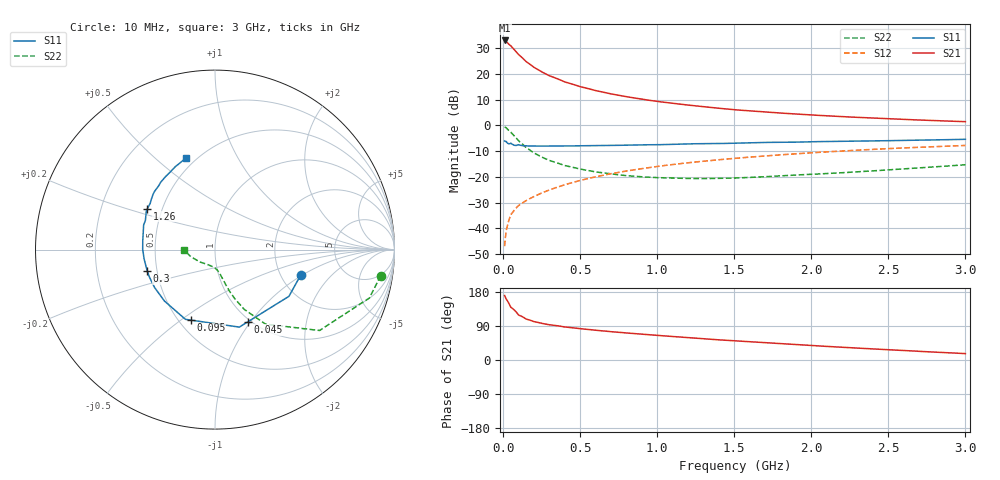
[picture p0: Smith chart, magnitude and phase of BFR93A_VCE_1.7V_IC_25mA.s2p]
! Infineon Technologies  Discrete & RF Semiconductors
! BFR93A
! VCE =  1.7 V,  IC =  25 mA
! Common Emitter S-Parameters:  Nov 2015
# GHz  S  MA  R  50
!  f  S11  S21  S12  S22
! GHz  MAG  ANG  MAG  ANG  MAG  ANG  MAG  ANG
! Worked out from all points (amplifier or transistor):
!   180 points, 10 MHz to 3 GHz, reference 50 ohm
!   highest |S21| = 33.0 dB at 10 MHz (marker M1)
!   |S21| within 3 dB of that: start of sweep to 64.28 MHz
!   unconditionally stable (mu >= 1): 358.2 MHz to end of sweep
!   at 160 MHz: K = 0.78, MSG = 26.6 dB, |S12| = -28.9 dB
!   at 1.22 GHz: K = 1.08, MAG = 9.3 dB, |S12| = -14.4 dB
!   at 3 GHz: K = 1.01, MAG = 4.0 dB, |S12| = -7.8 dB
!   S11 on the Smith chart (normalised r, x): 10 MHz: 2.56, -0.97; 45 MHz: 0.97, -0.97; 95 MHz: 0.57, -0.54; 300 MHz: 0.44, -0.13; 1.26 GHz: 0.41, +0.23; 3 GHz: 0.44, +0.64
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0.01  0.498 -16.6  44.72 170.2  0.0045 82.3  0.9349 -8.9
0.02  0.4873 -32.3  43.04 161.2  0.0088 76.9  0.9015 -17.4
0.045  0.4422 -65.8  36.12 143.5  0.0167 67.4  0.7567 -33.7
0.05  0.4525 -72.6  35.24 139.3  0.0183 66.5  0.7368 -37.7
0.095  0.4153 -109.0  24.84 121.6  0.0267 60.6  0.5232 -53.3
0.1  0.422 -113.0  23.9 118.8  0.0277 60.2  0.503 -55.8
0.15  0.4018 -134.5  17.33 108.0  0.0345 60.8  0.3695 -64.0
0.2  0.3974 -147.7  13.47 101.4  0.0414 62.7  0.2919 -68.2
0.24  0.3958 -154.8  11.46 97.7  0.047 63.9  0.2523 -70.4
0.26  0.396 -157.7  10.61 96.0  0.0498 64.5  0.2357 -71.3
0.3  0.396 -162.3  9.242 93.0  0.0555 65.9  0.2087 -72.7
0.4  0.3983 -172.4  7.005 87.2  0.0702 67.5  0.1659 -75.7
0.52  0.403 178.6  5.483 81.8  0.0881 68.0  0.1385 -78.3
0.6  0.405 174.0  4.755 78.5  0.1 67.8  0.1249 -80.7
0.7  0.4078 169.7  4.097 74.7  0.1151 67.4  0.1142 -83.9
0.82  0.4143 164.4  3.533 70.7  0.1327 66.6  0.1044 -88.7
1.02  0.4222 156.5  2.875 64.4  0.162 64.3  0.0962 -97.4
1.26  0.4401 148.8  2.375 57.3  0.1959 61.3  0.0926 -110.3
1.52  0.4527 141.5  1.995 50.1  0.2313 58.0  0.0953 -124.0
2.02  0.4828 128.4  1.583 37.7  0.2959 51.2  0.1128 -145.2
2.52  0.5061 117.5  1.339 26.7  0.356 43.9  0.1378 -162.9
3  0.5368 107.4  1.182 16.9  0.4078 36.9  0.172 -179.4
